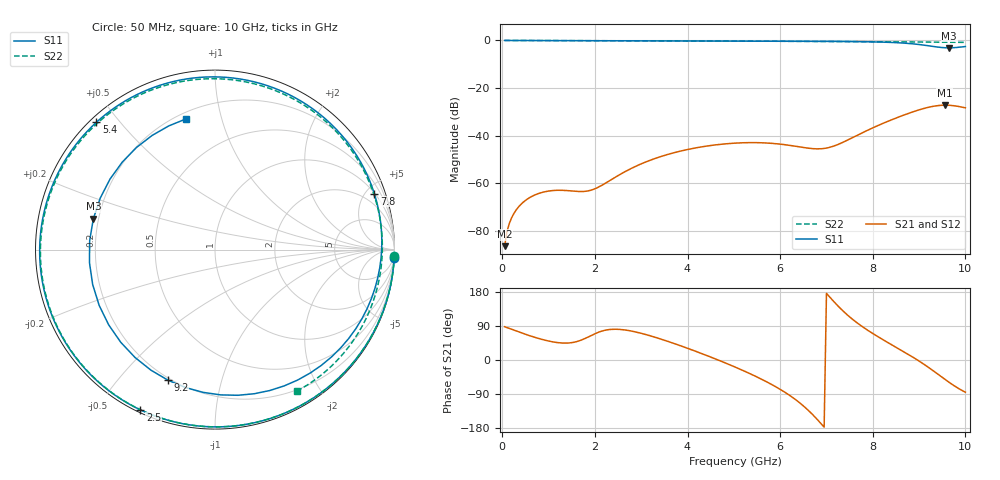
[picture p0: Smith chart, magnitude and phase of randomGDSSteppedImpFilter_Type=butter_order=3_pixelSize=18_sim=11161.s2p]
! freq	dB(S11)	phase(S11)	dB(S12)	phase(S12)
!  dB(S21)	phase(S21)	dB(S22)	phase(S22)
!S-par simulation data
#  GHz  S  DB  R 50
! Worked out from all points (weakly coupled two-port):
!   200 points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, 50 MHz to 10 GHz, reference 50 ohm
!   highest |S21| = -27.22 dB at 9.55 GHz (marker M1); lowest = -86.5 dB at 50 MHz (marker M2)
!   lowest |S11| = -3.1 dB at 9.65 GHz (marker M3), VSWR 5.65, Z = 8.98 + j6.04 ohm
!   |S11| at or under -10 dB: nowhere
!   |S22| runs from -0.8 to 0.0 dB; largest |S21 - S12| = 0
!   S11 on the Smith chart (normalised r, x): 50 MHz: 0, -45; 2.5 GHz: 0.01, -0.64; 5.4 GHz: 0.02, +0.43; 7.8 GHz: 1.04, +5.67; 9.2 GHz: 0.19, -0.69; 10 GHz: 0.24, +0.77
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0.05  -0.00 -2.5  -86.52 87.8  -86.52 87.8  -0.00 -2.1
0.1  -0.01 -5.0  -80.54 85.6  -80.54 85.6  -0.01 -4.2
0.35  -0.02 -17.5  -70.03 74.3  -70.03 74.3  -0.02 -14.6
0.65  -0.04 -32.2  -65.46 61.8  -65.46 61.8  -0.03 -27.0
1.2  -0.07 -58.4  -63.01 45.8  -63.01 45.8  -0.06 -49.2
1.75  -0.10 -83.3  -63.52 54.7  -63.52 54.7  -0.09 -70.7
2.5  -0.13 -115.0  -56.83 81.0  -56.83 81.0  -0.12 -98.8
3.4  -0.17 -150.4  -48.97 56.2  -48.97 56.2  -0.16 -131.2
4.25  -0.21 177.5  -44.93 19.6  -44.93 19.6  -0.21 -161.6
5.05  -0.25 146.8  -43.15 -19.8  -43.15 -19.8  -0.26 168.8
5.4  -0.27 133.0  -42.97 -39.0  -42.97 -39.0  -0.29 155.2
6.1  -0.31 103.9  -43.84 -84.9  -43.84 -84.9  -0.35 126.0
6.7  -0.36 76.9  -45.50 -143.9  -45.50 -143.9  -0.41 98.7
7.25  -0.41 49.8  -43.74 142.4  -43.74 142.4  -0.46 71.9
7.8  -0.53 19.4  -38.59 85.9  -38.59 85.9  -0.51 43.9
8.35  -0.79 -17.4  -33.82 44.4  -33.82 44.4  -0.57 15.8
8.85  -1.39 -63.1  -30.14 8.7  -30.14 8.7  -0.63 -8.9
9.2  -2.23 -109.8  -28.12 -19.2  -28.12 -19.2  -0.68 -25.4
9.4  -2.78 -144.7  -27.41 -36.9  -27.41 -36.9  -0.71 -34.4
9.55  -3.06 -174.1  -27.22 -50.3  -27.22 -50.3  -0.73 -41.0
9.65  -3.11 165.8  -27.27 -59.1  -27.27 -59.1  -0.75 -45.4
10  -2.55 102.6  -28.33 -85.0  -28.33 -85.0  -0.81 -59.9
